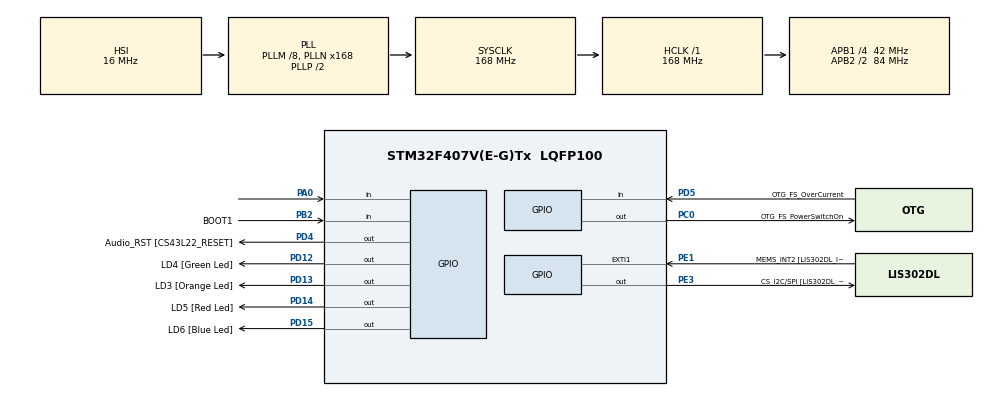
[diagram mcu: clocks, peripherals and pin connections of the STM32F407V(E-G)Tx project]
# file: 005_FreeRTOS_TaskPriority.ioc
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Mcu.Family=STM32F4
Mcu.Name=STM32F407V(E-G)Tx
Mcu.Package=LQFP100
NVIC.PriorityGroup=NVIC_PRIORITYGROUP_4
NVIC.TIM6_DAC_IRQn=true\:0\:0\:false\:false\:true\:false\:true\:true
NVIC.TimeBase=TIM6_DAC_IRQn
NVIC.TimeBaseIP=TIM6
PA0-WKUP.Signal=GPIO_Input
PA10.GPIO_Label=OTG_FS_ID
PA10.GPIO_Mode=GPIO_MODE_AF_PP
PA10.GPIO_PuPd=GPIO_NOPULL
PA10.GPIO_Speed=GPIO_SPEED_FREQ_LOW
PA10.Signal=USB_OTG_FS_ID
PA11.GPIO_Label=OTG_FS_DM
PA11.GPIO_Mode=GPIO_MODE_AF_PP
PA11.GPIO_PuPd=GPIO_NOPULL
PA11.GPIO_Speed=GPIO_SPEED_FREQ_LOW
PA11.Signal=USB_OTG_FS_DM
PA12.GPIO_Label=OTG_FS_DP
PA12.GPIO_Mode=GPIO_MODE_AF_PP
PA12.GPIO_PuPd=GPIO_NOPULL
PA12.GPIO_Speed=GPIO_SPEED_FREQ_LOW
PA12.Signal=USB_OTG_FS_DP
PA13.GPIO_Label=SWDIO
PA13.Signal=SYS_JTMS-SWDIO
PA14.GPIO_Label=SWCLK
PA14.Signal=SYS_JTCK-SWCLK
PA4.GPIO_Label=I2S3_WS [CS43L22_LRCK]
PA4.GPIO_Mode=GPIO_MODE_AF_PP
PA4.GPIO_PuPd=GPIO_NOPULL
PA4.GPIO_Speed=GPIO_SPEED_FREQ_LOW
PA4.Signal=I2S3_WS
PA5.GPIO_Label=SPI1_SCK [LIS302DL_SCL/SPC]
PA5.GPIO_Mode=GPIO_MODE_AF_PP
PA5.GPIO_PuPd=GPIO_NOPULL
PA5.GPIO_Speed=GPIO_SPEED_FREQ_LOW
PA5.Signal=SPI1_SCK
PA6.GPIO_Label=SPI1_MISO [LIS302DL_SDO]
PA6.GPIO_Mode=GPIO_MODE_AF_PP
PA6.GPIO_PuPd=GPIO_NOPULL
PA6.GPIO_Speed=GPIO_SPEED_FREQ_LOW
PA6.Signal=SPI1_MISO
PA7.GPIO_Label=SPI1_MOSI [LIS302DL_SDA/SDI/SDO]
PA7.GPIO_Mode=GPIO_MODE_AF_PP
PA7.GPIO_PuPd=GPIO_NOPULL
PA7.GPIO_Speed=GPIO_SPEED_FREQ_LOW
PA7.Signal=SPI1_MOSI
PA9.GPIO_Label=VBUS_FS
PA9.GPIO_Mode=GPIO_MODE_INPUT
PA9.GPIO_PuPd=GPIO_NOPULL
PA9.Signal=USB_OTG_FS_VBUS
PB10.GPIO_Label=CLK_IN [MP45DT02_CLK]
PB10.GPIO_Mode=GPIO_MODE_AF_PP
PB10.GPIO_PuPd=GPIO_NOPULL
PB10.GPIO_Speed=GPIO_SPEED_FREQ_LOW
PB10.Signal=I2S2_CK
PB2.GPIO_Label=BOOT1
PB2.GPIO_Mode=GPIO_MODE_INPUT
PB2.GPIO_PuPd=GPIO_NOPULL
PB2.Signal=GPIO_Input
PB3.GPIO_Label=SWO
PB3.Signal=SYS_JTDO-SWO
PB6.GPIO_Label=Audio_SCL [CS43L22_SCL]
PB6.GPIO_Mode=GPIO_MODE_AF_OD
PB6.GPIO_PuPd=GPIO_NOPULL
PB6.GPIO_Speed=GPIO_SPEED_FREQ_LOW
PB6.Signal=I2C1_SCL
PB9.GPIO_Label=Audio_SDA [CS43L22_SDA]
PB9.GPIO_Mode=GPIO_MODE_AF_OD
PB9.GPIO_PuPd=GPIO_NOPULL
PB9.GPIO_Speed=GPIO_SPEED_FREQ_LOW
PB9.Signal=I2C1_SDA
PC0.GPIO_Label=OTG_FS_PowerSwitchOn
PC0.GPIO_PuPd=GPIO_NOPULL
PC0.GPIO_Speed=GPIO_SPEED_FREQ_LOW
PC0.PinState=GPIO_PIN_SET
PC0.Signal=GPIO_Output
PC10.GPIO_Label=I2S3_SCK [CS43L22_SCLK]
PC10.GPIO_Mode=GPIO_MODE_AF_PP
PC10.GPIO_PuPd=GPIO_NOPULL
PC10.GPIO_Speed=GPIO_SPEED_FREQ_LOW
PC10.Signal=I2S3_CK
PC12.GPIO_Label=I2S3_SD [CS43L22_SDIN]
PC12.GPIO_Mode=GPIO_MODE_AF_PP
PC12.GPIO_PuPd=GPIO_NOPULL
PC12.GPIO_Speed=GPIO_SPEED_FREQ_LOW
PC12.Signal=I2S3_SD
PC14-OSC32_IN.GPIO_Label=PC14-OSC32_IN
PC14-OSC32_IN.Signal=RCC_OSC32_IN
PC15-OSC32_OUT.GPIO_Label=PC15-OSC32_OUT
PC15-OSC32_OUT.Signal=RCC_OSC32_OUT
PC3.GPIO_Label=PDM_OUT [MP45DT02_DOUT]
PC3.GPIO_Mode=GPIO_MODE_AF_PP
PC3.GPIO_PuPd=GPIO_NOPULL
PC3.GPIO_Speed=GPIO_SPEED_FREQ_LOW
PC3.Signal=I2S2_SD
PC7.GPIO_Label=I2S3_MCK [CS43L22_MCLK]
PC7.GPIO_Mode=GPIO_MODE_AF_PP
PC7.GPIO_PuPd=GPIO_NOPULL
PC7.GPIO_Speed=GPIO_SPEED_FREQ_LOW
PC7.Signal=I2S3_MCK
PD12.GPIO_Label=LD4 [Green Led]
PD12.GPIO_PuPd=GPIO_NOPULL
PD12.GPIO_Speed=GPIO_SPEED_FREQ_LOW
PD12.Signal=GPIO_Output
PD13.GPIO_Label=LD3 [Orange Led]
PD13.GPIO_PuPd=GPIO_NOPULL
PD13.GPIO_Speed=GPIO_SPEED_FREQ_LOW
PD13.Signal=GPIO_Output
PD14.GPIO_Label=LD5 [Red Led]
PD14.GPIO_PuPd=GPIO_NOPULL
PD14.GPIO_Speed=GPIO_SPEED_FREQ_LOW
PD14.Signal=GPIO_Output
PD15.GPIO_Label=LD6 [Blue Led]
PD15.GPIO_PuPd=GPIO_NOPULL
PD15.GPIO_Speed=GPIO_SPEED_FREQ_LOW
PD15.Signal=GPIO_Output
PD4.GPIO_Label=Audio_RST [CS43L22_RESET]
PD4.GPIO_PuPd=GPIO_NOPULL
PD4.GPIO_Speed=GPIO_SPEED_FREQ_LOW
PD4.Signal=GPIO_Output
PD5.GPIO_Label=OTG_FS_OverCurrent
PD5.GPIO_Mode=GPIO_MODE_INPUT
PD5.GPIO_PuPd=GPIO_NOPULL
PD5.Signal=GPIO_Input
PE1.GPIO_Label=MEMS_INT2 [LIS302DL_INT2]
PE1.GPIO_ModeDefaultEXTI=GPIO_MODE_EVT_RISING
PE1.GPIO_PuPd=GPIO_NOPULL
PE1.Signal=GPXTI1
PE3.GPIO_Label=CS_I2C/SPI [LIS302DL_CS_I2C/SPI]
PE3.GPIO_PuPd=GPIO_NOPULL
PE3.GPIO_Speed=GPIO_SPEED_FREQ_LOW
PE3.Signal=GPIO_Output
PH0-OSC_IN.GPIO_Label=PH0-OSC_IN
PH0-OSC_IN.Signal=RCC_OSC_IN
PH1-OSC_OUT.GPIO_Label=PH1-OSC_OUT
PH1-OSC_OUT.Signal=RCC_OSC_OUT
ProjectManager.HeapSize=0x200
ProjectManager.StackSize=0x400
ProjectManager.TargetToolchain=STM32CubeIDE
RCC.48MHZClocksFreq_Value=48000000
RCC.AHBFreq_Value=168000000
RCC.APB1CLKDivider=RCC_HCLK_DIV4
RCC.APB1Freq_Value=42000000
RCC.APB1TimFreq_Value=84000000
RCC.APB2CLKDivider=RCC_HCLK_DIV2
RCC.APB2Freq_Value=84000000
RCC.APB2TimFreq_Value=168000000
RCC.CortexFreq_Value=168000000
RCC.HCLKFreq_Value=168000000
RCC.HSE_VALUE=8000000
RCC.HSI_VALUE=16000000
RCC.LSE_VALUE=32768
RCC.PLLM=8
RCC.PLLN=168
RCC.PLLQ=7
RCC.SYSCLKFreq_VALUE=168000000
RCC.SYSCLKSource=RCC_SYSCLKSOURCE_PLLCLK
RCC.VCOOutputFreq_Value=336000000
VP_SYS_VS_tim6.Mode=TIM6
board=STM32F407G-DISC1

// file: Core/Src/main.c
/* USER CODE BEGIN Header */
/**
  ******************************************************************************
  * @file           : main.c
  * @brief          : Main program body
  ******************************************************************************
  * @attention
  *
  * <h2><center>&copy; Copyright (c) 2021 STMicroelectronics.
  * All rights reserved.</center></h2>
  *
  * This software component is licensed by ST under BSD 3-Clause license,
  * the "License"; You may not use this file except in compliance with the
  * License. You may obtain a copy of the License at:
  *                        opensource.org/licenses/BSD-3-Clause
  *
  ******************************************************************************
  */
/* USER CODE END Header */

#include "main.h"

/* USER CODE BEGIN Includes */
#include <stdio.h>
#include "FreeRTOS.h"
#include "task.h"

/* USER CODE END Includes */

/* USER CODE BEGIN PV */

#define DWT_CTRL    (*(volatile uint32_t*)0xE0001000)
	TaskHandle_t task1_handle;
	TaskHandle_t task2_handle;

/* USER CODE END PV */

void SystemClock_Config(void);
static void MX_GPIO_Init(void);
/* USER CODE BEGIN PFP */

static void task1_handler(void* parameters);
static void task2_handler(void* parameters);

extern  void SEGGER_UART_init(uint32_t);

/* USER CODE END PFP */

int main(void)
{
  /* USER CODE BEGIN 1 */

	BaseType_t status;

  /* USER CODE END 1 */

  /* MCU Configuration--------------------------------------------------------*/

  /* Reset of all peripherals, Initializes the Flash interface and the Systick. */
  HAL_Init();

  /* Configure the system clock */
  SystemClock_Config();

  /* Initialize all configured peripherals */
  MX_GPIO_Init();
  /* USER CODE BEGIN 2 */

  //Enable the CYCCNT counter.
  DWT_CTRL |= ( 1 << 0);

  SEGGER_UART_init(500000);

  SEGGER_SYSVIEW_Conf();

  SEGGER_SYSVIEW_Start();

  status = xTaskCreate(task1_handler, "Task-1", 200, "Hello world from Task-1", 2, &task1_handle);

  configASSERT(status == pdPASS);

  status = xTaskCreate(task2_handler, "Task-2", 200, "Hello world from Task-2", 3, &task2_handle);

  configASSERT(status == pdPASS);

  //start the freeRTOS scheduler
  vTaskStartScheduler();

  //if the control comes here, then the launch of the scheduler has failed due to
  //insufficient memory in heap

  /* USER CODE END 2 */

  /* Infinite loop */
  while (1)
  {

  }
}

void SystemClock_Config(void)
{
  RCC_OscInitTypeDef RCC_OscInitStruct = {0};
  RCC_ClkInitTypeDef RCC_ClkInitStruct = {0};

  /** Configure the main internal regulator output voltage
  */
  __HAL_RCC_PWR_CLK_ENABLE();
  __HAL_PWR_VOLTAGESCALING_CONFIG(PWR_REGULATOR_VOLTAGE_SCALE1);
  /** Initializes the CPU, AHB and APB busses clocks
  */
  RCC_OscInitStruct.OscillatorType = RCC_OSCILLATORTYPE_HSI;
  RCC_OscInitStruct.HSIState = RCC_HSI_ON;
  RCC_OscInitStruct.HSICalibrationValue = RCC_HSICALIBRATION_DEFAULT;
  RCC_OscInitStruct.PLL.PLLState = RCC_PLL_ON;
  RCC_OscInitStruct.PLL.PLLSource = RCC_PLLSOURCE_HSI;
  RCC_OscInitStruct.PLL.PLLM = 8;
  RCC_OscInitStruct.PLL.PLLN = 168;
  RCC_OscInitStruct.PLL.PLLP = RCC_PLLP_DIV2;
  RCC_OscInitStruct.PLL.PLLQ = 7;
  if (HAL_RCC_OscConfig(&RCC_OscInitStruct) != HAL_OK)
  {
    Error_Handler();
  }
  /** Initializes the CPU, AHB and APB busses clocks
  */
  RCC_ClkInitStruct.ClockType = RCC_CLOCKTYPE_HCLK|RCC_CLOCKTYPE_SYSCLK
                              |RCC_CLOCKTYPE_PCLK1|RCC_CLOCKTYPE_PCLK2;
  RCC_ClkInitStruct.SYSCLKSource = RCC_SYSCLKSOURCE_PLLCLK;
  RCC_ClkInitStruct.AHBCLKDivider = RCC_SYSCLK_DIV1;
  RCC_ClkInitStruct.APB1CLKDivider = RCC_HCLK_DIV4;
  RCC_ClkInitStruct.APB2CLKDivider = RCC_HCLK_DIV2;

  if (HAL_RCC_ClockConfig(&RCC_ClkInitStruct, FLASH_LATENCY_5) != HAL_OK)
  {
    Error_Handler();
  }
}

static void MX_GPIO_Init(void)
{
  GPIO_InitTypeDef GPIO_InitStruct = {0};

  /* GPIO Ports Clock Enable */
  __HAL_RCC_GPIOE_CLK_ENABLE();
  __HAL_RCC_GPIOC_CLK_ENABLE();
  __HAL_RCC_GPIOH_CLK_ENABLE();
  __HAL_RCC_GPIOA_CLK_ENABLE();
  __HAL_RCC_GPIOB_CLK_ENABLE();
  __HAL_RCC_GPIOD_CLK_ENABLE();

  /*Configure GPIO pin Output Level */
  HAL_GPIO_WritePin(CS_I2C_SPI_GPIO_Port, CS_I2C_SPI_Pin, GPIO_PIN_RESET);

  /*Configure GPIO pin Output Level */
  HAL_GPIO_WritePin(OTG_FS_PowerSwitchOn_GPIO_Port, OTG_FS_PowerSwitchOn_Pin, GPIO_PIN_SET);

  /*Configure GPIO pin Output Level */
  HAL_GPIO_WritePin(GPIOD, LD4_Pin|LD3_Pin|LD5_Pin|LD6_Pin
                          |Audio_RST_Pin, GPIO_PIN_RESET);

  /*Configure GPIO pin : CS_I2C_SPI_Pin */
  GPIO_InitStruct.Pin = CS_I2C_SPI_Pin;
  GPIO_InitStruct.Mode = GPIO_MODE_OUTPUT_PP;
  GPIO_InitStruct.Pull = GPIO_NOPULL;
  GPIO_InitStruct.Speed = GPIO_SPEED_FREQ_LOW;
  HAL_GPIO_Init(CS_I2C_SPI_GPIO_Port, &GPIO_InitStruct);

  /*Configure GPIO pin : OTG_FS_PowerSwitchOn_Pin */
  GPIO_InitStruct.Pin = OTG_FS_PowerSwitchOn_Pin;
  GPIO_InitStruct.Mode = GPIO_MODE_OUTPUT_PP;
  GPIO_InitStruct.Pull = GPIO_NOPULL;
  GPIO_InitStruct.Speed = GPIO_SPEED_FREQ_LOW;
  HAL_GPIO_Init(OTG_FS_PowerSwitchOn_GPIO_Port, &GPIO_InitStruct);

  /*Configure GPIO pin : PDM_OUT_Pin */
  GPIO_InitStruct.Pin = PDM_OUT_Pin;
  GPIO_InitStruct.Mode = GPIO_MODE_AF_PP;
  GPIO_InitStruct.Pull = GPIO_NOPULL;
  GPIO_InitStruct.Speed = GPIO_SPEED_FREQ_LOW;
  GPIO_InitStruct.Alternate = GPIO_AF5_SPI2;
  HAL_GPIO_Init(PDM_OUT_GPIO_Port, &GPIO_InitStruct);

  /*Configure GPIO pin : PA0 */
  GPIO_InitStruct.Pin = GPIO_PIN_0;
  GPIO_InitStruct.Mode = GPIO_MODE_INPUT;
  GPIO_InitStruct.Pull = GPIO_NOPULL;
  HAL_GPIO_Init(GPIOA, &GPIO_InitStruct);

  /*Configure GPIO pin : I2S3_WS_Pin */
  GPIO_InitStruct.Pin = I2S3_WS_Pin;
  GPIO_InitStruct.Mode = GPIO_MODE_AF_PP;
  GPIO_InitStruct.Pull = GPIO_NOPULL;
  GPIO_InitStruct.Speed = GPIO_SPEED_FREQ_LOW;
  GPIO_InitStruct.Alternate = GPIO_AF6_SPI3;
  HAL_GPIO_Init(I2S3_WS_GPIO_Port, &GPIO_InitStruct);

  /*Configure GPIO pins : SPI1_SCK_Pin SPI1_MISO_Pin SPI1_MOSI_Pin */
  GPIO_InitStruct.Pin = SPI1_SCK_Pin|SPI1_MISO_Pin|SPI1_MOSI_Pin;
  GPIO_InitStruct.Mode = GPIO_MODE_AF_PP;
  GPIO_InitStruct.Pull = GPIO_NOPULL;
  GPIO_InitStruct.Speed = GPIO_SPEED_FREQ_LOW;
  GPIO_InitStruct.Alternate = GPIO_AF5_SPI1;
  HAL_GPIO_Init(GPIOA, &GPIO_InitStruct);

  /*Configure GPIO pin : BOOT1_Pin */
  GPIO_InitStruct.Pin = BOOT1_Pin;
  GPIO_InitStruct.Mode = GPIO_MODE_INPUT;
  GPIO_InitStruct.Pull = GPIO_NOPULL;
  HAL_GPIO_Init(BOOT1_GPIO_Port, &GPIO_InitStruct);

  /*Configure GPIO pin : CLK_IN_Pin */
  GPIO_InitStruct.Pin = CLK_IN_Pin;
  GPIO_InitStruct.Mode = GPIO_MODE_AF_PP;
  GPIO_InitStruct.Pull = GPIO_NOPULL;
  GPIO_InitStruct.Speed = GPIO_SPEED_FREQ_LOW;
  GPIO_InitStruct.Alternate = GPIO_AF5_SPI2;
  HAL_GPIO_Init(CLK_IN_GPIO_Port, &GPIO_InitStruct);

  /*Configure GPIO pins : LD4_Pin LD3_Pin LD5_Pin LD6_Pin
                           Audio_RST_Pin */
  GPIO_InitStruct.Pin = LD4_Pin|LD3_Pin|LD5_Pin|LD6_Pin
                          |Audio_RST_Pin;
  GPIO_InitStruct.Mode = GPIO_MODE_OUTPUT_PP;
  GPIO_InitStruct.Pull = GPIO_NOPULL;
  GPIO_InitStruct.Speed = GPIO_SPEED_FREQ_LOW;
  HAL_GPIO_Init(GPIOD, &GPIO_InitStruct);

  /*Configure GPIO pins : I2S3_MCK_Pin I2S3_SCK_Pin I2S3_SD_Pin */
  GPIO_InitStruct.Pin = I2S3_MCK_Pin|I2S3_SCK_Pin|I2S3_SD_Pin;
  GPIO_InitStruct.Mode = GPIO_MODE_AF_PP;
  GPIO_InitStruct.Pull = GPIO_NOPULL;
  GPIO_InitStruct.Speed = GPIO_SPEED_FREQ_LOW;
  GPIO_InitStruct.Alternate = GPIO_AF6_SPI3;
  HAL_GPIO_Init(GPIOC, &GPIO_InitStruct);

  /*Configure GPIO pin : VBUS_FS_Pin */
  GPIO_InitStruct.Pin = VBUS_FS_Pin;
  GPIO_InitStruct.Mode = GPIO_MODE_INPUT;
  GPIO_InitStruct.Pull = GPIO_NOPULL;
  HAL_GPIO_Init(VBUS_FS_GPIO_Port, &GPIO_InitStruct);

  /*Configure GPIO pins : OTG_FS_ID_Pin OTG_FS_DM_Pin OTG_FS_DP_Pin */
  GPIO_InitStruct.Pin = OTG_FS_ID_Pin|OTG_FS_DM_Pin|OTG_FS_DP_Pin;
  GPIO_InitStruct.Mode = GPIO_MODE_AF_PP;
  GPIO_InitStruct.Pull = GPIO_NOPULL;
  GPIO_InitStruct.Speed = GPIO_SPEED_FREQ_LOW;
  GPIO_InitStruct.Alternate = GPIO_AF10_OTG_FS;
  HAL_GPIO_Init(GPIOA, &GPIO_InitStruct);

  /*Configure GPIO pin : OTG_FS_OverCurrent_Pin */
  GPIO_InitStruct.Pin = OTG_FS_OverCurrent_Pin;
  GPIO_InitStruct.Mode = GPIO_MODE_INPUT;
  GPIO_InitStruct.Pull = GPIO_NOPULL;
  HAL_GPIO_Init(OTG_FS_OverCurrent_GPIO_Port, &GPIO_InitStruct);

  /*Configure GPIO pins : Audio_SCL_Pin Audio_SDA_Pin */
  GPIO_InitStruct.Pin = Audio_SCL_Pin|Audio_SDA_Pin;
  GPIO_InitStruct.Mode = GPIO_MODE_AF_OD;
  GPIO_InitStruct.Pull = GPIO_PULLUP;
  GPIO_InitStruct.Speed = GPIO_SPEED_FREQ_LOW;
  GPIO_InitStruct.Alternate = GPIO_AF4_I2C1;
  HAL_GPIO_Init(GPIOB, &GPIO_InitStruct);

  /*Configure GPIO pin : MEMS_INT2_Pin */
  GPIO_InitStruct.Pin = MEMS_INT2_Pin;
  GPIO_InitStruct.Mode = GPIO_MODE_EVT_RISING;
  GPIO_InitStruct.Pull = GPIO_NOPULL;
  HAL_GPIO_Init(MEMS_INT2_GPIO_Port, &GPIO_InitStruct);

}

/* USER CODE BEGIN 4 */

static void task1_handler(void* parameters)
{

	char msg[100];

	while(1)
	{
		if(HAL_GPIO_ReadPin(GPIOA, GPIO_PIN_0) == 1)
		{
			vTaskPrioritySet(task2_handle, 3);
			vTaskPrioritySet(task1_handle, 2);
		}
		HAL_GPIO_TogglePin(GPIOD, GPIO_PIN_15);
		rtos_delay(100);
	}

}

static void task2_handler(void* parameters)
{
	char msg[100];
	while(1)
	{
		if(HAL_GPIO_ReadPin(GPIOA, GPIO_PIN_0) == 1)
		{
			vTaskPrioritySet(task1_handle, 3);
			vTaskPrioritySet(task2_handle, 2);
		}
		HAL_GPIO_TogglePin(GPIOD, GPIO_PIN_15);
		rtos_delay(200);
	}
}

void rtos_delay(uint32_t ms)
{
	uint32_t tick = (ms/configTICK_RATE_HZ)/1000;
	int current_tick = xTaskGetTickCount();
	while(xTaskGetTickCount() > (current_tick + tick));
}

/* USER CODE END 4 */

void HAL_TIM_PeriodElapsedCallback(TIM_HandleTypeDef *htim)
{
  if (htim->Instance == TIM6) {
    HAL_IncTick();
  }
}

void Error_Handler(void)
{
}

/************************ (C) COPYRIGHT STMicroelectronics *****END OF FILE****/
